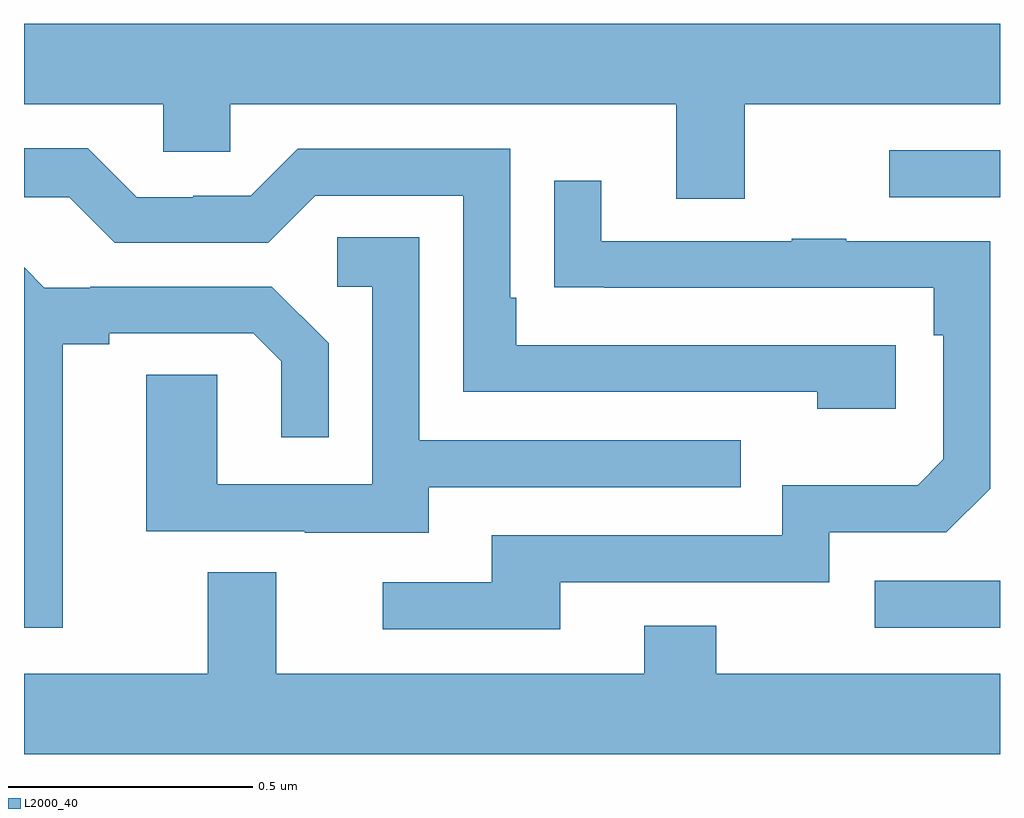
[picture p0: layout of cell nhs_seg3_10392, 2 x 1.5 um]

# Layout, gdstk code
import gdstk
lib = gdstk.Library(unit=1e-6, precision=1e-09)
def R(c, l, rs):  # rectangles x0, y0, x1, y1
    for r in rs: c.add(gdstk.rectangle(r[:2], r[2:], *l))
def P(c, l, *ps):  # polygons
    for p in ps: c.add(gdstk.Polygon(p, *l))
L2000_40 = (2000, 40)

nhs_seg3_10392 = lib.new_cell('nhs_seg3_10392')
R(nhs_seg3_10392, L2000_40, [(241.743,713.163,242,713.259), (241.773,714.045,242,714.141)])
P(nhs_seg3_10392, L2000_40, [(241.477,714.236),(242,714.236),(242,714.4),(240,714.4),(240,714.236),(240.285,714.236),(240.285,714.138),(240.423,714.138),(240.423,714.236),(241.337,714.236),(241.337,714.042),(241.477,714.042)],
  [(241.786,713.742),(241.009,713.742),(241.009,713.839),(240.996,713.839),(240.996,714.144),(240.561,714.144),(240.465,714.048),(240.347,714.048),(240.347,714.045),(240.231,714.045),(240.131,714.145),(240,714.145),(240,714.045),(240.093,714.045),(240.186,713.952),(240.501,713.952),(240.597,714.048),(240.9,714.048),(240.9,713.646),(241.625,713.646),(241.625,713.612),(241.786,713.612)],
  [(241.099,713.256),(241.65,713.256),(241.65,713.358),(241.89,713.358),(241.98,713.448),(241.98,713.955),(241.685,713.955),(241.685,713.96),(241.573,713.96),(241.573,713.955),(241.183,713.955),(241.183,714.079),(241.087,714.079),(241.087,713.86),(241.189,713.86),(241.189,713.859),(241.864,713.859),(241.864,713.762),(241.884,713.762),(241.884,713.508),(241.831,713.455),(241.554,713.455),(241.554,713.352),(240.959,713.352),(240.959,713.256),(240.735,713.256),(240.735,713.16),(241.099,713.16)],
  [(240.829,713.451),(241.469,713.451),(241.469,713.547),(240.81,713.547),(240.81,713.963),(240.642,713.963),(240.642,713.862),(240.714,713.862),(240.714,713.457),(240.396,713.457),(240.396,713.681),(240.251,713.681),(240.251,713.361),(240.575,713.361),(240.575,713.357),(240.829,713.357)],
  [(240.079,713.744),(240.175,713.744),(240.175,713.766),(240.47,713.766),(240.527,713.709),(240.527,713.553),(240.624,713.553),(240.624,713.746),(240.508,713.862),(240.136,713.862),(240.136,713.859),(240.042,713.859),(240,713.901),(240,713.163),(240.079,713.163)],
  [(242,713.068),(241.419,713.068),(241.419,713.167),(241.271,713.167),(241.271,713.068),(240.517,713.068),(240.517,713.276),(240.377,713.276),(240.377,713.068),(240,713.068),(240,712.904),(242,712.904)])

lib.write_gds('nhs_seg3_10392.gds')
